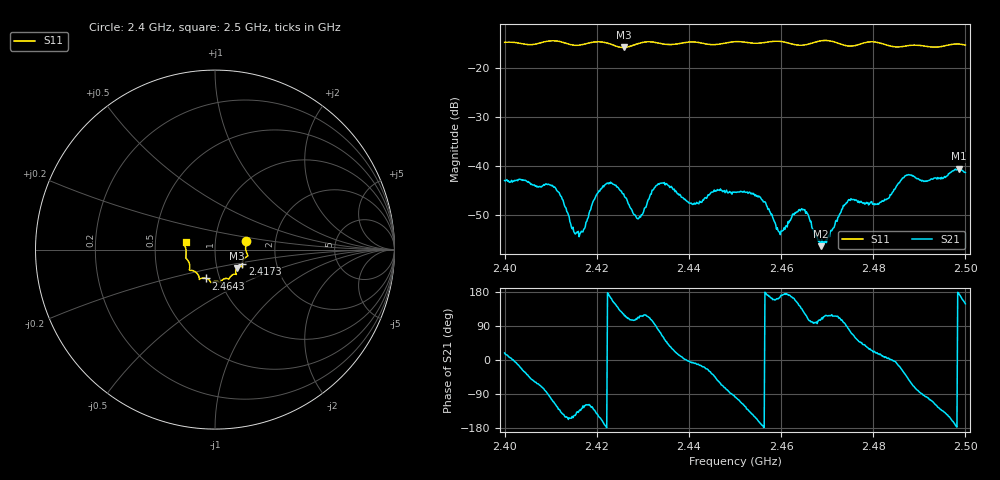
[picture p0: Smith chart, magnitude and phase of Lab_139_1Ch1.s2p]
# Hz S RI R 50
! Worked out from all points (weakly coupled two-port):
!   601 points, 2.4 GHz to 2.5 GHz, reference 50 ohm
!   highest |S21| = -40.51 dB at 2.4987 GHz (marker M1); lowest = -56.2 dB at 2.4687 GHz (marker M2)
!   lowest |S11| = -15.9 dB at 2.4258 GHz (marker M3), VSWR 1.38, Z = 62.3 - j13.3 ohm
!   |S11| at or under -10 dB: start of sweep to end of sweep
!   S12 and S22 are empty: the file has one direction only
!   S11 on the Smith chart (normalised r, x): 2.4 GHz: 1.41, +0.14; 2.4173 GHz: 1.34, -0.23; 2.4643 GHz: 0.86, -0.28; 2.5 GHz: 0.72, +0.06
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2.4e9  0.1733 0.0494  0.00678 0.00229  0 0  0 0
2.4105e9  0.1837 -0.034  -0.00211 -0.00591  0 0  0 0
2.415e9  0.159 -0.0557  -0.00184 -0.00116  0 0  0 0
2.416667e9  0.1528 -0.0746  -0.00137 -0.00171  0 0  0 0
2.417333e9  0.1521 -0.0819  -0.00118 -0.002  0 0  0 0
2.421833e9  0.1523 -0.095  -0.00644 -0.000828  0 0  0 0
2.425833e9  0.1217 -0.1036  -0.0027 0.00449  0 0  0 0
2.429e9  0.1157 -0.1312  -0.00114 0.0027  0 0  0 0
2.433333e9  0.1128 -0.137  0.00119 0.00653  0 0  0 0
2.440833e9  0.078 -0.1646  0.00407 -0.000448  0 0  0 0
2.45e9  0.0294 -0.1808  -0.000733 -0.00538  0 0  0 0
2.4555e9  -0.00267 -0.1773  -0.00473 -0.00108  0 0  0 0
2.459833e9  -0.0233 -0.1826  -0.00198 0.000429  0 0  0 0
2.464333e9  -0.0499 -0.1607  -0.00264 0.00252  0 0  0 0
2.466667e9  -0.0759 -0.1597  -0.000454 0.00236  0 0  0 0
2.468667e9  -0.087 -0.1656  -0.000464 0.00147  0 0  0 0
2.474667e9  -0.103 -0.1292  0.000647 0.00454  0 0  0 0
2.483333e9  -0.1407 -0.09  0.00473 0.00044  0 0  0 0
2.487333e9  -0.1572 -0.0543  0.00582 -0.00572  0 0  0 0
2.4915e9  -0.1614 -0.0302  -0.000876 -0.00705  0 0  0 0
2.498667e9  -0.1696 0.0344  -0.00937 0.00108  0 0  0 0
2.5e9  -0.1637 0.042  -0.00733 0.00454  0 0  0 0
